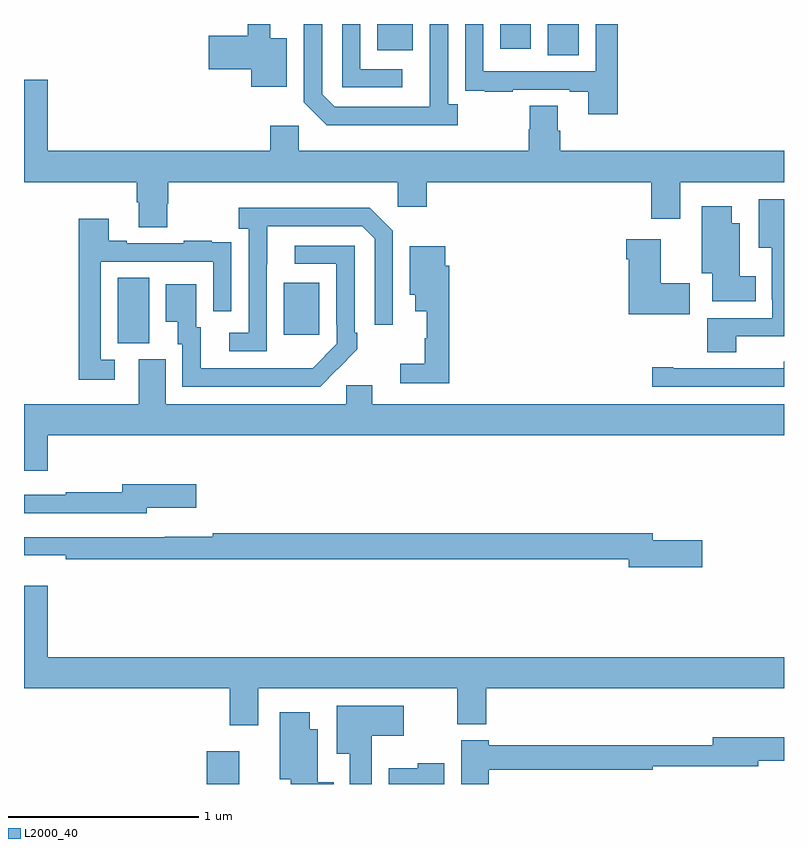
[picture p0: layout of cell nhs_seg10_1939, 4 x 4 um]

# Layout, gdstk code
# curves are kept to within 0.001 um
import gdstk
lib = gdstk.Library(unit=1e-6, precision=1e-09)
def R(c, l, rs):  # rectangles x0, y0, x1, y1
    for r in rs: c.add(gdstk.rectangle(r[:2], r[2:], *l))
def P(c, l, *ps):  # polygons
    for p in ps: c.add(gdstk.Polygon(p, *l))
L2000_40 = (2000, 40)

nhs_seg10_1939 = lib.new_cell('nhs_seg10_1939')
R(nhs_seg10_1939, L2000_40, [(213.962,1278.5,214.132,1278.673), (213.494,1280.821,213.658,1281.164), (214.367,1280.865,214.555,1281.139), (215.756,1282.336,215.92,1282.5), (214.859,1282.361,215.047,1282.5), (215.507,1282.371,215.668,1282.5)])
P(nhs_seg10_1939, L2000_40, [(215.284,1282.078),(215.232,1282.078),(215.232,1282.5),(215.136,1282.5),(215.135,1282.065),(214.635,1282.065),(214.569,1282.131),(214.569,1282.5),(214.473,1282.5),(214.473,1282.089),(214.594,1281.968),(215.284,1281.968)],
  [(214.99,1282.263),(214.77,1282.263),(214.77,1282.5),(214.674,1282.5),(214.674,1282.167),(214.99,1282.167)],
  [(214.384,1282.426),(214.295,1282.426),(214.295,1282.5),(214.177,1282.5),(214.177,1282.439),(213.972,1282.439),(213.972,1282.261),(214.196,1282.261),(214.196,1282.169),(214.384,1282.169)],
  [(216.125,1282.5),(216.009,1282.5),(216.009,1282.251),(215.418,1282.251),(215.418,1282.5),(215.322,1282.5),(215.322,1282.258),(215.323,1282.258),(215.323,1282.149),(215.425,1282.149),(215.425,1282.143),(215.573,1282.143),(215.573,1282.155),(215.873,1282.155),(215.873,1282.143),(215.969,1282.143),(215.969,1282.026),(216.125,1282.026)],
  [(213.753,1281.555),(213.758,1281.555),(213.758,1281.668),(214.968,1281.668),(214.968,1281.537),(215.12,1281.537),(215.12,1281.668),(216.302,1281.668),(216.302,1281.474),(216.454,1281.474),(216.454,1281.668),(217,1281.668),(217,1281.832),(215.822,1281.832),(215.822,1281.938),(215.809,1281.938),(215.809,1282.07),(215.662,1282.07),(215.662,1281.945),(215.657,1281.945),(215.657,1281.832),(214.446,1281.832),(214.446,1281.964),(214.295,1281.964),(214.295,1281.832),(213.124,1281.832),(213.124,1282.207),(213,1282.207),(213,1281.668),(213.593,1281.668),(213.593,1281.562),(213.605,1281.562),(213.605,1281.43),(213.753,1281.43)],
  [(216.748,1280.856),(217,1280.856),(217,1281.577),(216.866,1281.577),(216.866,1281.323),(216.935,1281.323),(216.935,1281.049),(216.939,1281.049),(216.939,1280.952),(216.596,1280.952),(216.596,1280.773),(216.748,1280.773)],
  [(216.85,1281.172),(216.766,1281.172),(216.766,1281.451),(216.724,1281.451),(216.724,1281.541),(216.566,1281.541),(216.566,1281.188),(216.623,1281.188),(216.623,1281.041),(216.85,1281.041)],
  [(214.278,1281.235),(214.279,1281.435),(214.779,1281.435),(214.845,1281.369),(214.845,1280.916),(214.941,1280.916),(214.941,1281.411),(214.82,1281.532),(214.131,1281.532),(214.131,1281.422),(214.182,1281.422),(214.182,1280.874),(214.08,1280.874),(214.08,1280.778),(214.278,1280.778)],
  [(213.478,1280.733),(213.405,1280.733),(213.405,1281.249),(213.996,1281.249),(213.996,1280.988),(214.092,1280.988),(214.092,1281.242),(214.091,1281.242),(214.091,1281.351),(213.989,1281.351),(213.989,1281.358),(213.841,1281.358),(213.841,1281.345),(213.541,1281.345),(213.541,1281.358),(213.445,1281.358),(213.445,1281.475),(213.289,1281.475),(213.289,1280.628),(213.478,1280.628)],
  [(216.505,1281.135),(216.352,1281.135),(216.352,1281.367),(216.17,1281.367),(216.17,1281.263),(216.182,1281.263),(216.182,1280.972),(216.505,1280.972)],
  [(214.649,1280.683),(214.65,1280.682),(214.755,1280.787),(214.755,1280.875),(214.74,1280.875),(214.74,1281.333),(214.425,1281.333),(214.425,1281.237),(214.644,1281.237),(214.644,1280.917),(214.647,1280.917),(214.647,1280.817),(214.519,1280.689),(213.931,1280.688),(213.931,1280.904),(213.907,1280.904),(213.907,1281.13),(213.746,1281.13),(213.746,1280.933),(213.809,1280.933),(213.809,1280.814),(213.834,1280.814),(213.834,1280.592),(214.558,1280.592)],
  [(215.237,1281.227),(215.218,1281.227),(215.218,1281.331),(215.03,1281.331),(215.03,1281.074),(215.06,1281.074),(215.06,1280.987),(215.12,1280.987),(215.12,1280.847),(215.109,1280.847),(215.109,1280.711),(214.98,1280.711),(214.98,1280.61),(215.237,1280.61)],
  [(213.124,1280.336),(217,1280.336),(217,1280.5),(214.834,1280.5),(214.834,1280.598),(214.695,1280.598),(214.695,1280.5),(213.745,1280.5),(213.745,1280.736),(213.605,1280.736),(213.605,1280.5),(213,1280.5),(213,1280.148),(213.124,1280.148)],
  [(217,1280.724),(216.998,1280.722),(216.998,1280.688),(216.418,1280.688),(216.418,1280.693),(216.306,1280.693),(216.306,1280.592),(217,1280.592)],
  [(213.646,1279.955),(213.907,1279.955),(213.907,1280.077),(213.518,1280.077),(213.518,1280.035),(213.22,1280.035),(213.22,1280.022),(213,1280.022),(213,1279.926),(213.646,1279.926)],
  [(216.571,1279.784),(216.31,1279.784),(216.31,1279.82),(213.994,1279.82),(213.994,1279.801),(213.742,1279.801),(213.742,1279.8),(213,1279.8),(213,1279.703),(213.22,1279.703),(213.22,1279.684),(216.182,1279.684),(216.182,1279.642),(216.571,1279.642)],
  [(214.234,1279.004),(215.279,1279.004),(215.279,1278.815),(215.432,1278.815),(215.432,1279.004),(217,1279.004),(217,1279.168),(213.124,1279.168),(213.124,1279.543),(213,1279.543),(213,1279.004),(214.082,1279.004),(214.082,1278.81),(214.234,1278.81)],
  [(214.831,1278.755),(214.999,1278.755),(214.999,1278.913),(214.646,1278.913),(214.646,1278.659),(214.715,1278.659),(214.715,1278.5),(214.831,1278.5)],
  [(214.63,1278.508),(214.546,1278.508),(214.546,1278.787),(214.504,1278.787),(214.504,1278.877),(214.346,1278.877),(214.346,1278.524),(214.403,1278.524),(214.403,1278.5),(214.63,1278.5)],
  [(215.447,1278.574),(216.308,1278.574),(216.308,1278.594),(216.865,1278.594),(216.865,1278.623),(217,1278.623),(217,1278.745),(216.626,1278.745),(216.626,1278.703),(215.447,1278.703),(215.447,1278.73),(215.3,1278.73),(215.3,1278.5),(215.447,1278.5)],
  [(215.212,1278.61),(215.073,1278.61),(215.073,1278.583),(214.919,1278.583),(214.919,1278.5),(215.212,1278.5)])

lib.write_gds('nhs_seg10_1939.gds')
